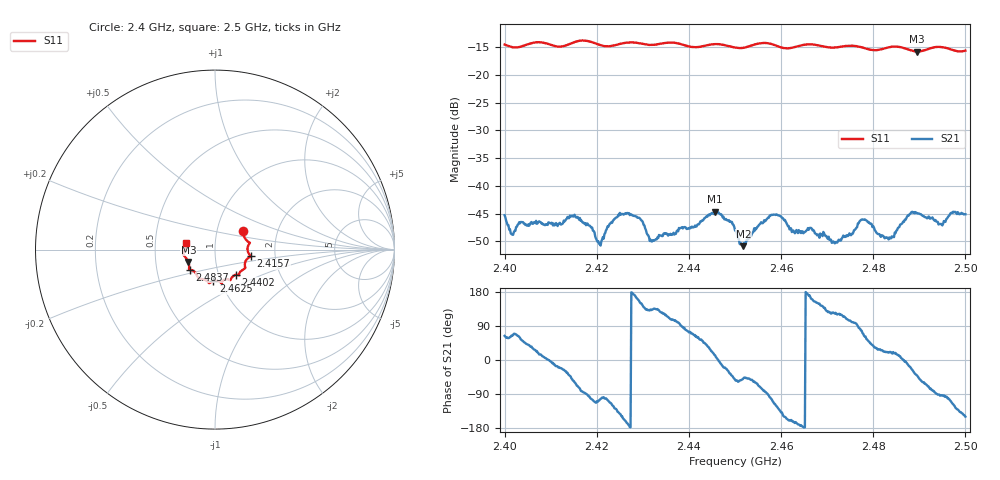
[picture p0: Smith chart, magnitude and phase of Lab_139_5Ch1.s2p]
# Hz S RI R 50
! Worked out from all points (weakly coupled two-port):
!   601 points, 2.4 GHz to 2.5 GHz, reference 50 ohm
!   highest |S21| = -44.65 dB at 2.4457 GHz (marker M1); lowest = -50.9 dB at 2.4518 GHz (marker M2)
!   lowest |S11| = -15.7 dB at 2.4895 GHz (marker M3), VSWR 1.39, Z = 36.8 - j5.15 ohm
!   |S11| at or under -10 dB: start of sweep to end of sweep
!   S12 and S22 are empty: the file has one direction only
!   S11 on the Smith chart (normalised r, x): 2.4 GHz: 1.33, +0.29; 2.4157 GHz: 1.49, -0.11; 2.4402 GHz: 1.20, -0.35; 2.4625 GHz: 0.92, -0.34; 2.4837 GHz: 0.74, -0.17; 2.5 GHz: 0.72, +0.05
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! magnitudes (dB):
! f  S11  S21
! 2.4 GHz  -14.5  -45.3
! 2.4018 GHz  -15.0  -48.9
! 2.4035 GHz  -14.9  -46.5
! 2.4157 GHz  -13.9  -45.7
! 2.4167 GHz  -13.8  -46.3
! 2.4205 GHz  -14.5  -50.5
! 2.4265 GHz  -14.1  -44.9
! 2.4333 GHz  -14.4  -49.4
! 2.4402 GHz  -14.8  -47.6
! 2.4457 GHz  -14.4  -44.6
! 2.45 GHz  -15.0  -48.0
! 2.4518 GHz  -15.1  -50.9
! 2.458 GHz  -14.4  -45.2
! 2.4625 GHz  -15.0  -48.1
! 2.4667 GHz  -14.4  -47.7
! 2.4717 GHz  -15.0  -50.4
! 2.478 GHz  -15.1  -46.1
! 2.4833 GHz  -15.0  -49.7
! 2.4837 GHz  -14.9  -49.5
! 2.4895 GHz  -15.7  -44.9
! 2.4947 GHz  -14.9  -46.9
! 2.5 GHz  -15.6  -45.1
